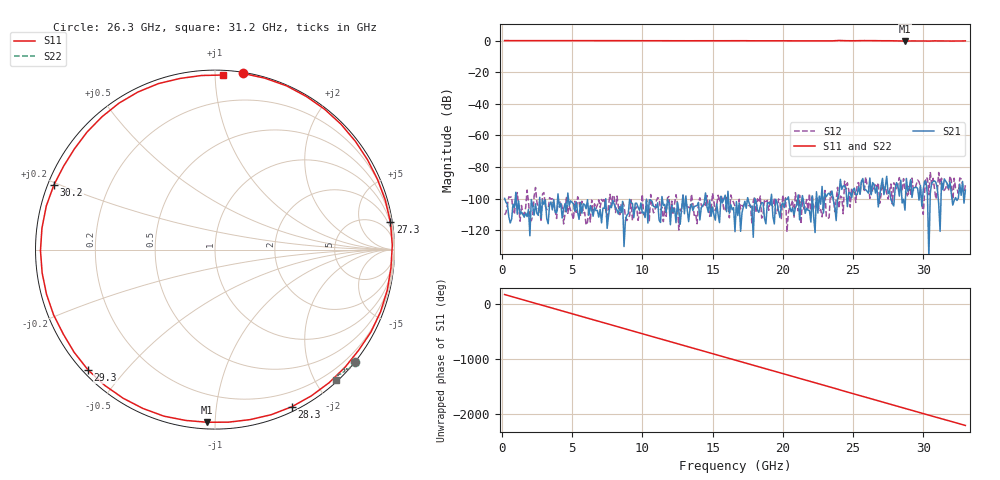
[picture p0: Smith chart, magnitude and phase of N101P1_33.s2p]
# GHZ S RI R 50
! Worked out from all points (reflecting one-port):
!   329 points, 200 MHz to 33 GHz, reference 50 ohm
!   lowest |S11| = -0.3 dB at 28.7 GHz (marker M1), VSWR 52.95, Z = 1.81 - j47.7 ohm
!   phase of S11 starts at 165 deg and turns -2366 deg over the sweep
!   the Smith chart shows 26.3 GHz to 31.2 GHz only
!   S11 on the Smith chart (normalised r, x): 26.3 GHz: 0.01, +1.17; 27.3 GHz: 1, +13; 28.3 GHz: 0.05, -1.60; 29.3 GHz: 0.01, -0.40; 30.2 GHz: 0.02, +0.19; 31.2 GHz: 0.03, +1.05
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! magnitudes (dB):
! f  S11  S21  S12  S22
! 200 MHz  0.0  -99.7  -110.2  0.0
! 5.7 GHz  0.0  -109.1  -101.5  0.0
! 11.2 GHz  -0.2  -113.7  -99.8  -0.1
! 16.6 GHz  0.0  -120.8  -104.8  0.1
! 19.9 GHz  -0.2  -104.0  -112.5  -0.1
! 22.1 GHz  -0.2  -98.2  -97.5  0.0
! 22.6 GHz  -0.3  -98.3  -107.9  -0.1
! 23.3 GHz  -0.2  -96.4  -111.9  0.0
! 23.5 GHz  -0.2  -95.0  -99.4  -0.1
! 24 GHz  0.1  -97.3  -106.0  0.1
! 25.1 GHz  -0.1  -93.3  -96.1  0.1
! 26.3 GHz  -0.1  -97.4  -92.1  0.0
! 27.3 GHz  -0.1  -92.4  -92.2  0.0
! 27.6 GHz  -0.1  -95.1  -94.8  0.0
! 28.3 GHz  -0.2  -98.3  -86.6  -0.1
! 28.7 GHz  -0.3  -107.2  -95.2  -0.2
! 29.3 GHz  -0.2  -93.2  -94.5  -0.1
! 30.2 GHz  -0.3  -89.4  -86.5  -0.2
! 31.2 GHz  -0.2  -120.6  -90.8  -0.1
! 31.7 GHz  -0.3  -90.2  -90.4  -0.3
! 32.1 GHz  -0.3  -104.0  -103.3  -0.1
! 33 GHz  -0.2  -94.5  -91.3  -0.1
